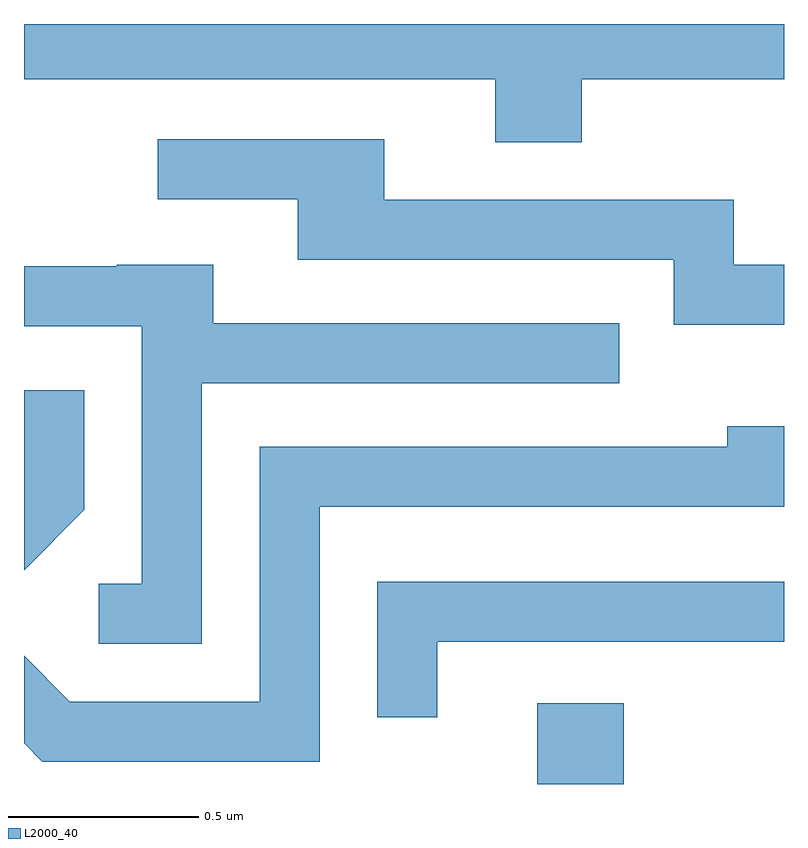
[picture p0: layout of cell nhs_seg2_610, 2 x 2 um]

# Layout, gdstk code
import gdstk
lib = gdstk.Library(unit=1e-6, precision=1e-09)
def R(c, l, rs):  # rectangles x0, y0, x1, y1
    for r in rs: c.add(gdstk.rectangle(r[:2], r[2:], *l))
def P(c, l, *ps):  # polygons
    for p in ps: c.add(gdstk.Polygon(p, *l))
L2000_40 = (2000, 40)

nhs_seg2_610 = lib.new_cell('nhs_seg2_610')
R(nhs_seg2_610, L2000_40, [(190.961,1039.802,191.189,1040.014)])
P(nhs_seg2_610, L2000_40, [(191.079,1041.656),(191.611,1041.656),(191.611,1041.802),(189.611,1041.802),(189.611,1041.656),(190.851,1041.656),(190.851,1041.491),(191.079,1041.491)],
  [(191.611,1041.169),(191.479,1041.169),(191.479,1041.339),(190.559,1041.339),(190.559,1041.499),(189.963,1041.499),(189.963,1041.341),(190.331,1041.341),(190.331,1041.181),(191.321,1041.181),(191.321,1041.011),(191.611,1041.011)],
  [(190.079,1040.856),(191.178,1040.856),(191.178,1041.014),(190.109,1041.014),(190.109,1041.169),(189.855,1041.169),(189.855,1041.164),(189.611,1041.164),(189.611,1041.006),(189.921,1041.006),(189.921,1040.329),(189.808,1040.329),(189.808,1040.171),(190.079,1040.171)],
  [(189.769,1040.524),(189.769,1040.838),(189.611,1040.838),(189.611,1040.365)],
  [(190.389,1040.531),(191.611,1040.531),(191.611,1040.744),(191.461,1040.744),(191.461,1040.689),(190.231,1040.689),(190.231,1040.019),(189.732,1040.019),(189.611,1040.14),(189.611,1039.909),(189.659,1039.861),(190.389,1039.861)],
  [(190.699,1040.176),(191.611,1040.176),(191.611,1040.334),(190.541,1040.334),(190.541,1039.978),(190.699,1039.978)])

lib.write_gds('nhs_seg2_610.gds')
